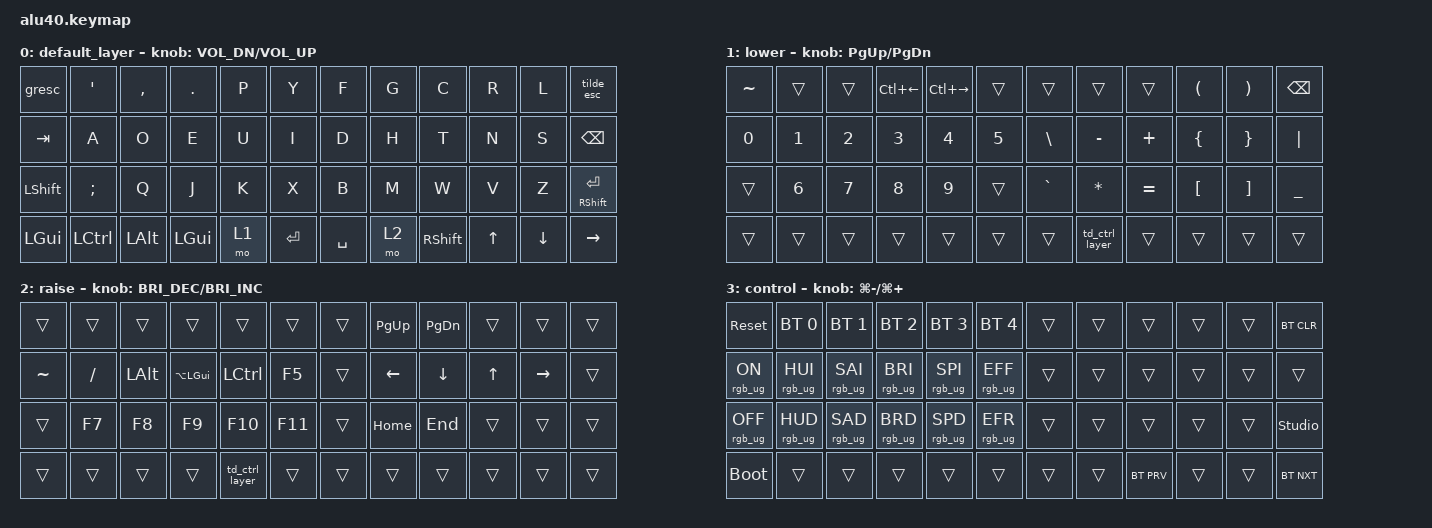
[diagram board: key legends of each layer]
/*
 * Copyright (c) 2022 The ZMK Contributors
 *
 * SPDX-License-Identifier: MIT
 */

#include <behaviors.dtsi>
#include <dt-bindings/zmk/keys.h>
#include <dt-bindings/zmk/bt.h>
#include <dt-bindings/zmk/rgb.h>

/ {
    keymap {
        compatible = "zmk,keymap";

        default_layer {
            // -----------------------------------------------------------------------------------------
            // | ESC/~ |  SQT | COMMA|  DOT |  P   |  Y   |   F   |  G    |  C   |  R   |   L   | BSPC  |
            // | TAB   |  A   |  O   |  E   |  U   |  I   |   D   |  H    |  T   |  N   |   S   |  BSPC |
            // | SHIFT | SEMI |  Q   |  J   |  K   |  X   |   B   |  M    |  W   |  V   |   Z   |RET/SFT|
            // | LGUI  | LCTL | LALT | LGUI | LOWR |     SPACE    |  RAIS | RSFT | UARW | DARW  |  RARW |

            bindings = <
                &gresc     &kp SQT    &kp COMMA &kp DOT   &kp P  &kp Y      &kp F      &kp G  &kp C      &kp R    &kp L     &tilde_esc
                &kp TAB    &kp A      &kp O     &kp E     &kp U  &kp I      &kp D      &kp H  &kp T      &kp N    &kp S     &kp BSPC
                &kp LSHFT  &kp SEMI   &kp Q     &kp J     &kp K  &kp X      &kp B      &kp M  &kp W      &kp V    &kp Z     &mt RSHFT RET
                &kp LGUI   &kp LCTRL  &kp LALT  &kp LGUI  &mo 1  &kp ENTER  &kp SPACE  &mo 2  &kp RSHFT  &kp UP   &kp DOWN  &kp RIGHT
            >;

            sensor-bindings = <&inc_dec_kp C_VOL_DN C_VOL_UP>;
        };

        lower {
            bindings = <
                &kp TILDE      &trans      &trans      &kp LC(LEFT) &kp LC(RIGHT) &trans   &trans      &trans      &trans      &kp LPAR    &kp RPAR    &kp BSPC
                &kp N0         &kp N1      &kp N2      &kp N3      &kp N4      &kp N5      &kp BSLH    &kp MINUS   &kp PLUS    &kp LBRC    &kp RBRC    &kp PIPE
                &trans         &kp N6      &kp N7      &kp N8      &kp N9      &trans      &kp GRAVE   &kp ASTRK   &kp EQUAL   &kp LBKT    &kp RBKT    &kp UNDER
                &trans         &trans      &trans      &trans      &trans      &trans      &trans      &td_ctrl_layer  &trans      &trans      &trans      &trans
            >;

            sensor-bindings = <&inc_dec_kp PG_UP PG_DN>;
        };

        raise {
            bindings = <
                &trans     &trans  &trans  &trans  &trans   &trans   &trans   &kp PG_UP  &kp PG_DN   &trans        &trans        &trans
                &kp TILDE &kp SLASH  &kp LALT &kp LA(LGUI)  &kp LCTL &kp F5 &trans  &kp LEFT   &kp DOWN       &kp UP        &kp RIGHT     &trans
                &trans     &kp F7  &kp F8  &kp F9  &kp F10  &kp F11  &trans   &kp HOME   &kp END     &trans        &trans        &trans
                &trans     &trans  &trans  &trans  &td_ctrl_layer    &trans   &trans   &trans     &trans      &trans        &trans        &trans
            >;

            sensor-bindings = <&inc_dec_kp C_BRI_DEC C_BRI_INC>;
        };

        control {
            bindings = <
                &sys_reset       &bt BT_SEL 0     &bt BT_SEL 1     &bt BT_SEL 2     &bt BT_SEL 3     &bt BT_SEL 4     &trans  &trans  &trans      &trans  &trans  &bt BT_CLR
                &rgb_ug RGB_ON   &rgb_ug RGB_HUI  &rgb_ug RGB_SAI  &rgb_ug RGB_BRI  &rgb_ug RGB_SPI  &rgb_ug RGB_EFF  &trans  &trans  &trans      &trans  &trans  &trans
                &rgb_ug RGB_OFF  &rgb_ug RGB_HUD  &rgb_ug RGB_SAD  &rgb_ug RGB_BRD  &rgb_ug RGB_SPD  &rgb_ug RGB_EFR  &trans  &trans  &trans      &trans  &trans  &studio_unlock
                &bootloader      &trans           &trans           &trans           &trans           &trans           &trans  &trans  &bt BT_PRV  &trans  &trans  &bt BT_NXT
            >;

            sensor-bindings = <&inc_dec_kp LG(MINUS) LG(PLUS)>;
        };
        extra1 {
            status = "reserved";
        };
        extra2 {
            status = "reserved";
        };
        extra3 {
            status = "reserved";
        };
        extra4 {
            status = "reserved";
        };
    };

    behaviors {
        tilde_esc: tilde_escape {
            compatible = "zmk,behavior-mod-morph";
            label = "TILDE_ESCAPE";
            #binding-cells = <0>;
            bindings = <&kp ESC>, <&kp TILDE>;
            mods = <(MOD_LGUI|MOD_LSFT|MOD_RGUI|MOD_RSFT)>;
        };

        td_ctrl_layer: tap_dance_control_layer {
            compatible = "zmk,behavior-tap-dance";
            label = "TD_CTRL_LAYER";
            #binding-cells = <0>;
            tapping-term-ms = <300>;
            bindings = <&none>, <&mo 3>;
        };
    };
};
